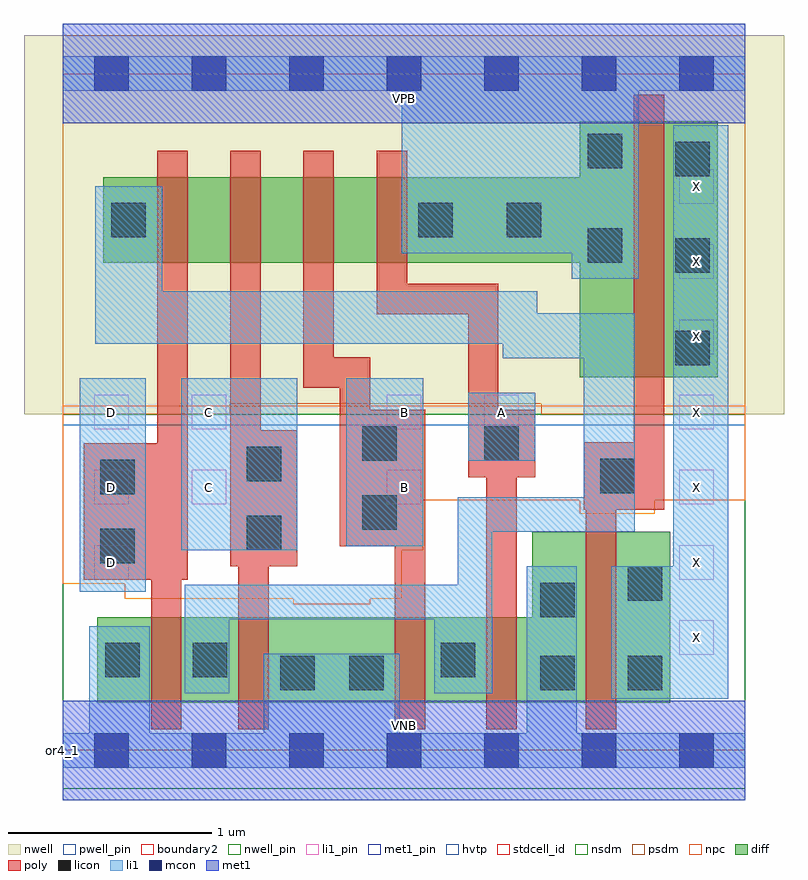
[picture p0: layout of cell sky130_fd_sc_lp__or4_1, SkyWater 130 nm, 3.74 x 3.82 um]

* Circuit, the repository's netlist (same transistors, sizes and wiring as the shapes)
* Copyright 2020 The SkyWater PDK Authors
*
* Licensed under the Apache License, Version 2.0 (the "License");
* you may not use this file except in compliance with the License.
* You may obtain a copy of the License at
*
*     https://www.apache.org/licenses/LICENSE-2.0
*
* Unless required by applicable law or agreed to in writing, software
* distributed under the License is distributed on an "AS IS" BASIS,
* WITHOUT WARRANTIES OR CONDITIONS OF ANY KIND, either express or implied.
* See the License for the specific language governing permissions and
* limitations under the License.
*
* SPDX-License-Identifier: Apache-2.0

.SUBCKT sky130_fd_sc_lp__or4_1 A B C D VGND VNB VPB VPWR X
*.PININFO A:I B:I C:I D:I VGND:I VNB:I VPB:I VPWR:I X:O
MMP0 VPWR A sndPA VPB sky130_fd_pr__pfet_01v8_hvt m=1 w=0.42U l=0.15U mult=1 sa=0.265
+ sb=0.265 sd=0.28 area=0.063 perim=1.14
MMP1 sndPA B sndPB VPB sky130_fd_pr__pfet_01v8_hvt m=1 w=0.42U l=0.15U mult=1 sa=0.265
+ sb=0.265 sd=0.28 area=0.063 perim=1.14
MMP2 sndPB C sndPC VPB sky130_fd_pr__pfet_01v8_hvt m=1 w=0.42U l=0.15U mult=1 sa=0.265
+ sb=0.265 sd=0.28 area=0.063 perim=1.14
MMP3 sndPC D y VPB sky130_fd_pr__pfet_01v8_hvt m=1 w=0.42U l=0.15U mult=1 sa=0.265
+ sb=0.265 sd=0.28 area=0.063 perim=1.14
MMIP4 X y VPWR VPB sky130_fd_pr__pfet_01v8_hvt m=1 w=1.26U l=0.15U mult=1 sa=0.265
+ sb=0.265 sd=0.28 area=0.063 perim=1.14
MMN0 y A VGND VNB sky130_fd_pr__nfet_01v8 m=1 w=0.42U l=0.15U mult=1 sa=0.265 sb=0.265
+ sd=0.28 area=0.063 perim=1.14
MMN1 y B VGND VNB sky130_fd_pr__nfet_01v8 m=1 w=0.42U l=0.15U mult=1 sa=0.265 sb=0.265
+ sd=0.28 area=0.063 perim=1.14
MMN2 y C VGND VNB sky130_fd_pr__nfet_01v8 m=1 w=0.42U l=0.15U mult=1 sa=0.265 sb=0.265
+ sd=0.28 area=0.063 perim=1.14
MMN3 y D VGND VNB sky130_fd_pr__nfet_01v8 m=1 w=0.42U l=0.15U mult=1 sa=0.265 sb=0.265
+ sd=0.28 area=0.063 perim=1.14
MMIN4 X y VGND VNB sky130_fd_pr__nfet_01v8 m=1 w=0.84U l=0.15U mult=1 sa=0.265
+ sb=0.265 sd=0.28 area=0.063 perim=1.14
.ENDS sky130_fd_sc_lp__or4_1

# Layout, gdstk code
import gdstk
lib = gdstk.Library(unit=1e-6, precision=1e-09)
def R(c, l, rs):  # rectangles x0, y0, x1, y1
    for r in rs: c.add(gdstk.rectangle(r[:2], r[2:], *l))
def A(c, l, x, y, w, h, nx, ny, dx, dy):  # array of equal rectangles
    R(c, l, [(x+i*dx, y+j*dy, x+i*dx+w, y+j*dy+h) for i in range(nx) for j in range(ny)])
def P(c, l, *ps):  # polygons
    for p in ps: c.add(gdstk.Polygon(p, *l))
nwell_pin = (64, 16)
nwell = (64, 20)
diff = (65, 20)
poly = (66, 20)
licon = (66, 44)
li1_pin = (67, 16)
li1 = (67, 20)
mcon = (67, 44)
met1_pin = (68, 16)
met1 = (68, 20)
hvtp = (78, 44)
stdcell_id = (81, 4)
nsdm = (93, 44)
psdm = (94, 20)
npc = (95, 20)
pwell_pin = (122, 16)
boundary2 = (236, 0)

sky130_fd_sc_lp__or4_1 = lib.new_cell('sky130_fd_sc_lp__or4_1')
R(sky130_fd_sc_lp__or4_1, nwell_pin, [(0,3.085,3.36,3.33)])
R(sky130_fd_sc_lp__or4_1, nwell, [(-0.19,1.655,3.55,3.52)])
P(sky130_fd_sc_lp__or4_1, diff, [(2.99,1.075),(2.31,1.075),(2.31,0.655),(0.17,0.655),(0.17,0.235),(2.99,0.235)],
  [(3.225,3.095),(2.545,3.095),(2.545,2.82),(0.2,2.82),(0.2,2.4),(2.545,2.4),(2.545,1.835),(3.225,1.835)])
P(sky130_fd_sc_lp__or4_1, poly, [(0.615,2.95),(0.465,2.95),(0.465,1.51),(0.105,1.51),(0.105,0.84),(0.435,0.84),(0.435,0.105),(0.585,0.105),(0.585,0.84),(0.615,0.84)],
  [(1.155,1.575),(0.975,1.575),(0.975,2.95),(0.825,2.95),(0.825,0.905),(0.865,0.905),(0.865,0.105),(1.015,0.105),(1.015,0.905),(1.155,0.905)],
  [(1.785,1.675),(1.515,1.675),(1.515,1.935),(1.335,1.935),(1.335,2.95),(1.185,2.95),(1.185,1.785),(1.365,1.785),(1.365,1.005),(1.635,1.005),(1.635,0.105),(1.785,0.105)],
  [(2.325,1.675),(2.145,1.675),(2.145,2.295),(1.695,2.295),(1.695,2.95),(1.545,2.95),(1.545,2.145),(1.995,2.145),(1.995,1.345),(2.085,1.345),(2.085,0.105),(2.235,0.105),(2.235,1.345),(2.325,1.345)],
  [(2.96,3.225),(2.81,3.225),(2.81,1.515),(2.565,1.515),(2.565,1.185),(2.575,1.185),(2.575,0.105),(2.725,0.105),(2.725,1.185),(2.96,1.185)])
R(sky130_fd_sc_lp__or4_1, licon, [(1.07,0.295,1.24,0.465), (1.41,0.295,1.58,0.465), (2.35,0.295,2.52,0.465), (2.78,0.295,2.95,0.465), (0.21,0.36,0.38,0.53), (0.64,0.36,0.81,0.53), (1.86,0.36,2.03,0.53), (2.35,0.655,2.52,0.825), (2.78,0.735,2.95,0.905), (0.185,0.92,0.355,1.09), (0.905,0.985,1.075,1.155), (1.475,1.085,1.645,1.255), (0.185,1.26,0.355,1.43), (2.645,1.265,2.815,1.435), (0.905,1.325,1.075,1.495), (1.475,1.425,1.645,1.595), (2.075,1.425,2.245,1.595), (3.015,1.895,3.185,2.065), (3.015,2.35,3.185,2.52), (2.585,2.4,2.755,2.57), (0.24,2.525,0.41,2.695), (1.75,2.525,1.92,2.695), (2.185,2.525,2.355,2.695), (3.015,2.825,3.185,2.995), (2.585,2.865,2.755,3.035)])
A(sky130_fd_sc_lp__or4_1, li1_pin, 3.035, 0.47, 0.17, 0.17, 1, 7, 0, 0.37)
A(sky130_fd_sc_lp__or4_1, li1_pin, 0.155, 0.84, 0.17, 0.17, 1, 3, 0, 0.37)
R(sky130_fd_sc_lp__or4_1, li1_pin, [(0.635,1.21,0.805,1.38), (1.595,1.21,1.765,1.38), (0.635,1.58,0.805,1.75), (1.595,1.58,1.765,1.75), (2.075,1.58,2.245,1.75)])
R(sky130_fd_sc_lp__or4_1, li1, [(0.085,0.78,0.41,1.83), (0.585,0.985,1.155,1.83), (1.395,1.005,1.775,1.83), (1.995,1.425,2.325,1.76)])
P(sky130_fd_sc_lp__or4_1, li1, [(3.36,3.415),(0,3.415),(0,3.245),(1.67,3.245),(1.67,2.445),(2.505,2.445),(2.505,2.32),(2.835,2.32),(2.835,3.245),(3.36,3.245)],
  [(2.815,2.15),(2.335,2.15),(2.335,2.26),(0.49,2.26),(0.49,2.775),(0.16,2.775),(0.16,2),(2.165,2),(2.165,1.93),(2.565,1.93),(2.565,1.245),(1.945,1.245),(1.945,0.815),(0.6,0.815),(0.6,0.28),(0.82,0.28),(0.82,0.645),(1.83,0.645),(1.83,0.28),(2.115,0.28),(2.115,1.075),(2.815,1.075)],
  [(3.275,3.075),(3.005,3.075),(3.005,0.905),(2.7,0.905),(2.7,0.255),(3.275,0.255)],
  [(3.36,0.085),(2.53,0.085),(2.53,0.905),(2.285,0.905),(2.285,0.085),(1.66,0.085),(1.66,0.475),(0.99,0.475),(0.99,0.085),(0.43,0.085),(0.43,0.61),(0.13,0.61),(0.13,0.085),(0,0.085),(0,-0.085),(3.36,-0.085)])
A(sky130_fd_sc_lp__or4_1, mcon, 0.155, -0.085, 0.17, 0.17, 7, 2, 0.48, 3.33)
R(sky130_fd_sc_lp__or4_1, met1_pin, [(0,0,3.36,0.245), (0,3.085,3.36,3.33)])
R(sky130_fd_sc_lp__or4_1, met1, [(0,-0.245,3.36,0.245), (0,3.085,3.36,3.575)])
R(sky130_fd_sc_lp__or4_1, hvtp, [(0,1.6,3.36,3.33)])
R(sky130_fd_sc_lp__or4_1, stdcell_id, [(0,0,3.36,3.33)])
R(sky130_fd_sc_lp__or4_1, nsdm, [(0,-0.19,3.36,1.655)])
P(sky130_fd_sc_lp__or4_1, psdm, [(3.36,3.52),(0,3.52),(0,1.655),(0.825,1.655),(0.825,1.705),(2.355,1.705),(2.355,1.655),(3.36,1.655)])
P(sky130_fd_sc_lp__or4_1, npc, [(3.36,1.695),(0,1.695),(0,0.82),(0.305,0.82),(0.305,0.745),(1.135,0.745),(1.135,0.72),(1.515,0.72),(1.515,0.745),(1.67,0.745),(1.67,0.985),(1.775,0.985),(1.775,1.23),(2.545,1.23),(2.545,1.165),(2.915,1.165),(2.915,1.23),(3.36,1.23)])
R(sky130_fd_sc_lp__or4_1, pwell_pin, [(0,0,3.36,0.245)])
R(sky130_fd_sc_lp__or4_1, boundary2, [(0,0,3.36,3.33)])
sky130_fd_sc_lp__or4_1.add(gdstk.Label('VNB', (1.68,0.123), layer=64, texttype=59))
sky130_fd_sc_lp__or4_1.add(gdstk.Label('VPB', (1.68,3.208), layer=64, texttype=5))
sky130_fd_sc_lp__or4_1.add(gdstk.Label('or4_1', (0,0), layer=83, texttype=44))
sky130_fd_sc_lp__or4_1.add(gdstk.Label('VPWR', (1.68,3.208), layer=68, texttype=5))
sky130_fd_sc_lp__or4_1.add(gdstk.Label('VGND', (1.68,0.123), layer=68, texttype=5))
sky130_fd_sc_lp__or4_1.add(gdstk.Label('C', (0.72,1.295), layer=67, texttype=5))
sky130_fd_sc_lp__or4_1.add(gdstk.Label('C', (0.72,1.665), layer=67, texttype=5))
sky130_fd_sc_lp__or4_1.add(gdstk.Label('D', (0.24,0.925), layer=67, texttype=5))
sky130_fd_sc_lp__or4_1.add(gdstk.Label('D', (0.24,1.295), layer=67, texttype=5))
sky130_fd_sc_lp__or4_1.add(gdstk.Label('D', (0.24,1.665), layer=67, texttype=5))
sky130_fd_sc_lp__or4_1.add(gdstk.Label('X', (3.12,0.555), layer=67, texttype=5))
sky130_fd_sc_lp__or4_1.add(gdstk.Label('X', (3.12,0.925), layer=67, texttype=5))
sky130_fd_sc_lp__or4_1.add(gdstk.Label('X', (3.12,1.295), layer=67, texttype=5))
sky130_fd_sc_lp__or4_1.add(gdstk.Label('X', (3.12,1.665), layer=67, texttype=5))
sky130_fd_sc_lp__or4_1.add(gdstk.Label('X', (3.12,2.035), layer=67, texttype=5))
sky130_fd_sc_lp__or4_1.add(gdstk.Label('X', (3.12,2.405), layer=67, texttype=5))
sky130_fd_sc_lp__or4_1.add(gdstk.Label('X', (3.12,2.775), layer=67, texttype=5))
sky130_fd_sc_lp__or4_1.add(gdstk.Label('A', (2.16,1.665), layer=67, texttype=5))
sky130_fd_sc_lp__or4_1.add(gdstk.Label('B', (1.68,1.295), layer=67, texttype=5))
sky130_fd_sc_lp__or4_1.add(gdstk.Label('B', (1.68,1.665), layer=67, texttype=5))

lib.write_gds('sky130_fd_sc_lp__or4_1.gds')
